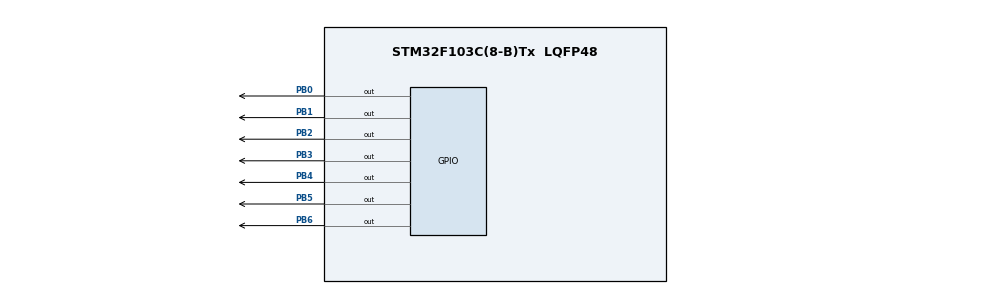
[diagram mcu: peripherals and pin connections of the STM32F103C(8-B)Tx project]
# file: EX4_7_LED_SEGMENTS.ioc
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Mcu.Family=STM32F1
Mcu.Name=STM32F103C(8-B)Tx
Mcu.Package=LQFP48
NVIC.PriorityGroup=NVIC_PRIORITYGROUP_4
PA13.Mode=Serial_Wire
PA13.Signal=SYS_JTMS-SWDIO
PA14.Mode=Serial_Wire
PA14.Signal=SYS_JTCK-SWCLK
PB0.Signal=GPIO_Output
PB1.Signal=GPIO_Output
PB2.Signal=GPIO_Output
PB3.Signal=GPIO_Output
PB4.Signal=GPIO_Output
PB5.Signal=GPIO_Output
PB6.Signal=GPIO_Output
ProjectManager.HeapSize=0x200
ProjectManager.StackSize=0x400
ProjectManager.TargetToolchain=MDK-ARM V5.32
RCC.APB1Freq_Value=8000000
RCC.APB2Freq_Value=8000000
board=custom

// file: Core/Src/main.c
/* USER CODE BEGIN Header */
/**
  ******************************************************************************
  * @file           : main.c
  * @brief          : Main program body
  ******************************************************************************
  * @attention
  *
  * Copyright (c) 2026 STMicroelectronics.
  * All rights reserved.
  *
  * This software is licensed under terms that can be found in the LICENSE file
  * in the root directory of this software component.
  * If no LICENSE file comes with this software, it is provided AS-IS.
  *
  ******************************************************************************
  */
/* USER CODE END Header */
#include "main.h"

/* USER CODE BEGIN PD */
#define LED_A GPIO_PIN_0
#define LED_B GPIO_PIN_1
#define LED_C GPIO_PIN_2
#define LED_D GPIO_PIN_3
#define LED_E GPIO_PIN_4
#define LED_F GPIO_PIN_5
#define LED_G GPIO_PIN_6

#define ALL_LEDS (LED_A | LED_B | LED_C | LED_D | \
                  LED_E | LED_F | LED_G)
/* USER CODE END PD */

void SystemClock_Config(void);
static void MX_GPIO_Init(void);

/* USER CODE BEGIN 0 */
	void display7SEG(int num)
{
    static const uint16_t digit[10] =
    {
        LED_A | LED_B | LED_C | LED_D | LED_E | LED_F,          // 0
        LED_B | LED_C,                                          // 1
        LED_A | LED_B | LED_D | LED_E | LED_G,                  // 2
        LED_A | LED_B | LED_C | LED_D | LED_G,                  // 3
        LED_B | LED_C | LED_F | LED_G,                          // 4
        LED_A | LED_C | LED_D | LED_F | LED_G,                  // 5
        LED_A | LED_C | LED_D | LED_E | LED_F | LED_G,          // 6
        LED_A | LED_B | LED_C,                                  // 7
        LED_A | LED_B | LED_C | LED_D | LED_E | LED_F | LED_G,  // 8
        LED_A | LED_B | LED_C | LED_D | LED_F | LED_G           // 9
    };

    /* Common anode */
    HAL_GPIO_WritePin(GPIOB, ALL_LEDS, GPIO_PIN_SET);

    if (num >= 0 && num <= 9)
    {
        HAL_GPIO_WritePin(GPIOB, digit[num], GPIO_PIN_RESET);
    }
}
/* USER CODE END 0 */

int main(void)
{

  /* MCU Configuration--------------------------------------------------------*/

  /* Reset of all peripherals, Initializes the Flash interface and the Systick. */
  HAL_Init();

  /* Configure the system clock */
  SystemClock_Config();

  /* Initialize all configured peripherals */
  MX_GPIO_Init();
  /* USER CODE BEGIN 2 */
	int count = 0;
  /* USER CODE END 2 */

  /* Infinite loop */
  while (1)
  {

    /* USER CODE BEGIN 3 */
		 if (count >= 10)
    {
        count = 0;
    }

    display7SEG(count++);
    HAL_Delay(1000);
  }
  /* USER CODE END 3 */
}

void SystemClock_Config(void)
{
  RCC_OscInitTypeDef RCC_OscInitStruct = {0};
  RCC_ClkInitTypeDef RCC_ClkInitStruct = {0};

  /** Initializes the RCC Oscillators according to the specified parameters
  * in the RCC_OscInitTypeDef structure.
  */
  RCC_OscInitStruct.OscillatorType = RCC_OSCILLATORTYPE_HSI;
  RCC_OscInitStruct.HSIState = RCC_HSI_ON;
  RCC_OscInitStruct.HSICalibrationValue = RCC_HSICALIBRATION_DEFAULT;
  RCC_OscInitStruct.PLL.PLLState = RCC_PLL_NONE;
  if (HAL_RCC_OscConfig(&RCC_OscInitStruct) != HAL_OK)
  {
    Error_Handler();
  }

  /** Initializes the CPU, AHB and APB buses clocks
  */
  RCC_ClkInitStruct.ClockType = RCC_CLOCKTYPE_HCLK|RCC_CLOCKTYPE_SYSCLK
                              |RCC_CLOCKTYPE_PCLK1|RCC_CLOCKTYPE_PCLK2;
  RCC_ClkInitStruct.SYSCLKSource = RCC_SYSCLKSOURCE_HSI;
  RCC_ClkInitStruct.AHBCLKDivider = RCC_SYSCLK_DIV1;
  RCC_ClkInitStruct.APB1CLKDivider = RCC_HCLK_DIV1;
  RCC_ClkInitStruct.APB2CLKDivider = RCC_HCLK_DIV1;

  if (HAL_RCC_ClockConfig(&RCC_ClkInitStruct, FLASH_LATENCY_0) != HAL_OK)
  {
    Error_Handler();
  }
}

static void MX_GPIO_Init(void)
{
  GPIO_InitTypeDef GPIO_InitStruct = {0};

  /* GPIO Ports Clock Enable */
  __HAL_RCC_GPIOB_CLK_ENABLE();
  __HAL_RCC_GPIOA_CLK_ENABLE();

  /*Configure GPIO pin Output Level */
  HAL_GPIO_WritePin(GPIOB, GPIO_PIN_0|GPIO_PIN_1|GPIO_PIN_2|GPIO_PIN_3
                          |GPIO_PIN_4|GPIO_PIN_5|GPIO_PIN_6, GPIO_PIN_SET);

  /*Configure GPIO pins : PB0 PB1 PB2 PB3
                           PB4 PB5 PB6 */
  GPIO_InitStruct.Pin = GPIO_PIN_0|GPIO_PIN_1|GPIO_PIN_2|GPIO_PIN_3
                          |GPIO_PIN_4|GPIO_PIN_5|GPIO_PIN_6;
  GPIO_InitStruct.Mode = GPIO_MODE_OUTPUT_PP;
  GPIO_InitStruct.Pull = GPIO_NOPULL;
  GPIO_InitStruct.Speed = GPIO_SPEED_FREQ_LOW;
  HAL_GPIO_Init(GPIOB, &GPIO_InitStruct);

}

void Error_Handler(void)
{
  __disable_irq();
  while (1)
  {
  }
}
